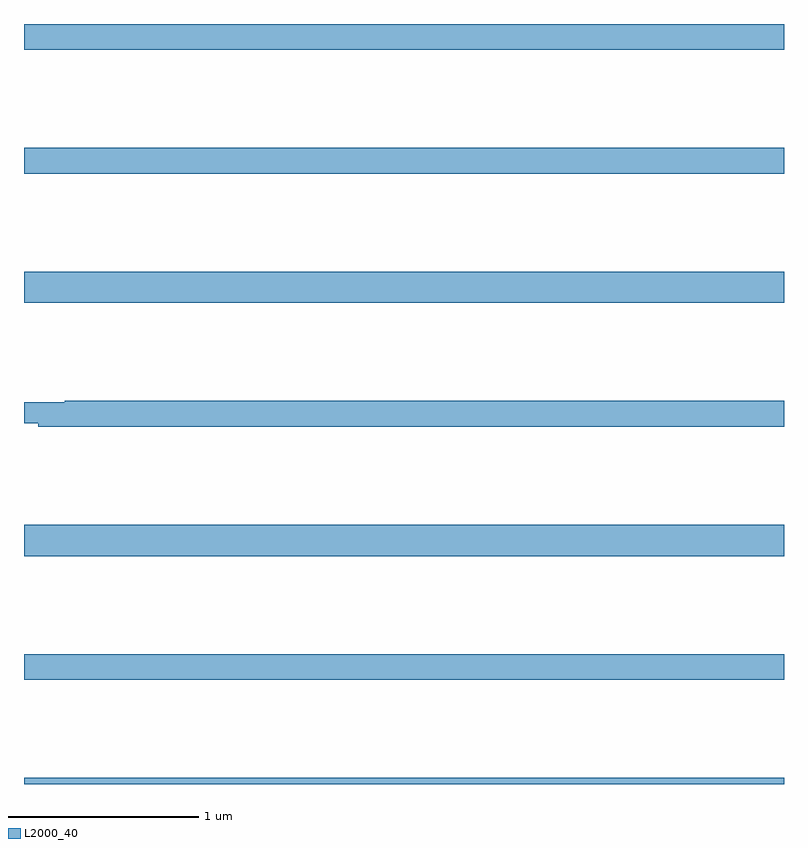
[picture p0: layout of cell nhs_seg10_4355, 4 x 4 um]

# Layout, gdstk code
import gdstk
lib = gdstk.Library(unit=1e-6, precision=1e-09)
def R(c, l, rs):  # rectangles x0, y0, x1, y1
    for r in rs: c.add(gdstk.rectangle(r[:2], r[2:], *l))
def P(c, l, *ps):  # polygons
    for p in ps: c.add(gdstk.Polygon(p, *l))
L2000_40 = (2000, 40)

nhs_seg10_4355 = lib.new_cell('nhs_seg10_4355')
R(nhs_seg10_4355, L2000_40, [(357,1248.5,361,1248.532), (357,1249.048,361,1249.184), (357,1249.7,361,1249.864), (357,1251.032,361,1251.196), (357,1251.712,361,1251.848), (357,1252.364,361,1252.5)])
P(nhs_seg10_4355, L2000_40, [(361,1250.516),(357.215,1250.516),(357.215,1250.509),(357,1250.509),(357,1250.399),(357.076,1250.399),(357.076,1250.38),(361,1250.38)])

lib.write_gds('nhs_seg10_4355.gds')
